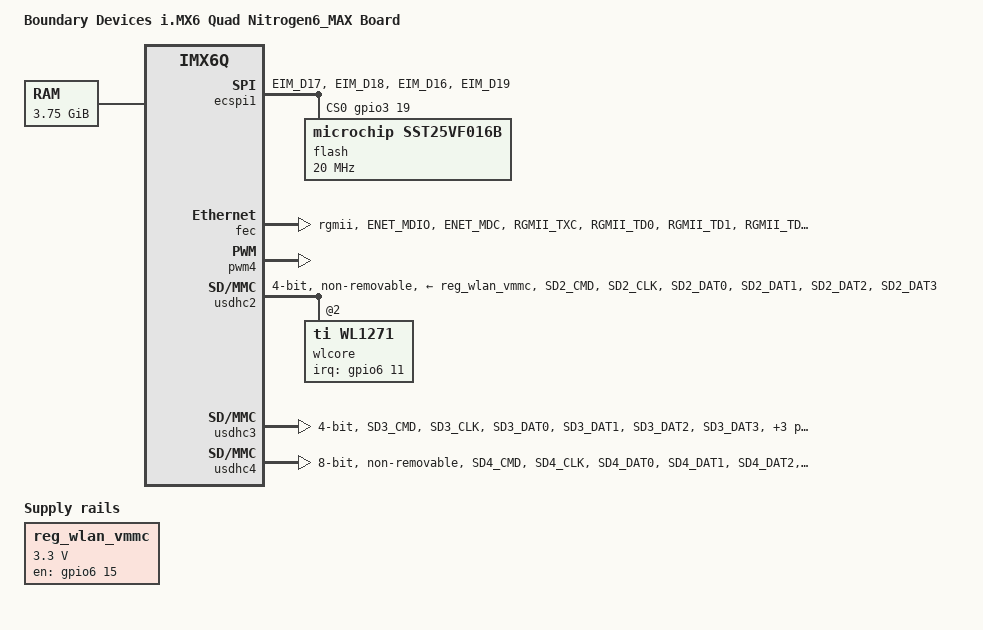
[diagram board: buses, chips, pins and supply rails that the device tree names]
/*
 * Copyright (C) 2016 Open Wide
 *               2016 Institut de Recherche Technologique SystemX
 *
 * This program is free software; you can redistribute it and/or modify
 * it under the terms of the GNU General Public License as published by
 * the Free Software Foundation; either version 2, or (at your option)
 * any later version.
 *
 * This program is distributed in the hope that it will be useful,
 * but WITHOUT ANY WARRANTY; without even the implied warranty of
 * MERCHANTABILITY or FITNESS FOR A PARTICULAR PURPOSE.  See the
 * GNU General Public License for more details.
 *
 * You should have received a copy of the GNU General Public License
 * along with this program; if not, write to the Free Software
 * Foundation, Inc., 675 Mass Ave, Cambridge, MA 02139, USA.
 *
 * @file nitrogen6_max.dtsi
 * @author Jean Guyomarc'h (jean.guyomarch@openwide.fr)
 * @brief Nitrogen 6 MAX specific device tree definitions.
 */

#include "../imx6q.dtsi"

/ {
        #address-cells = <0x1>;
        #size-cells = <0x1>;
        model = "Boundary Devices i.MX6 Quad Nitrogen6_MAX Board";
        compatible = "boundary,imx6q-nitrogen6_max", "fsl,imx6q";

        memory {
                reg = <0x10000000 0xF0000000>;
        };

        regulators {
		reg_wlan_vmmc: regulator@5 {
			compatible = "regulator-fixed";
			reg = <5>;
			pinctrl-names = "default";
			pinctrl-0 = <&pinctrl_wlan_vmmc>;
			regulator-name = "reg_wlan_vmmc";
			regulator-min-microvolt = <3300000>;
			regulator-max-microvolt = <3300000>;
			gpio = <&gpio6 15 0>;
			startup-delay-us = <70000>;
			enable-active-high;
		};
        };
};

&clks {
	assigned-clocks = <&clks IMX6QDL_CLK_LDB_DI0_SEL>,
			  <&clks IMX6QDL_CLK_LDB_DI1_SEL>;
	assigned-clock-parents = <&clks IMX6QDL_CLK_PLL3_USB_OTG>,
				 <&clks IMX6QDL_CLK_PLL3_USB_OTG>;
};

&ecspi1 {
	fsl,spi-num-chipselects = <1>;
	cs-gpios = <&gpio3 19 0>;
	pinctrl-names = "default";
	pinctrl-0 = <&pinctrl_ecspi1>;
	status = "okay";

	flash: m25p80@0 {
		compatible = "microchip,sst25vf016b";
		spi-max-frequency = <20000000>;
		reg = <0>;
	};
};

&fec {
	pinctrl-names = "default";
	pinctrl-0 = <&pinctrl_enet>;
	phy-mode = "rgmii";
	phy-reset-gpios = <&gpio1 27 1>;
	txen-skew-ps = <0>;
	txc-skew-ps = <3000>;
	rxdv-skew-ps = <0>;
	rxc-skew-ps = <3000>;
	rxd0-skew-ps = <0>;
	rxd1-skew-ps = <0>;
	rxd2-skew-ps = <0>;
	rxd3-skew-ps = <0>;
	txd0-skew-ps = <0>;
	txd1-skew-ps = <0>;
	txd2-skew-ps = <0>;
	txd3-skew-ps = <0>;
	interrupts-extended = <&gpio1 6 IRQ_TYPE_LEVEL_HIGH>,
			      <&intc 0 119 IRQ_TYPE_LEVEL_HIGH>;
	status = "okay";
};

&iomuxc {
	imx6q-nitrogen6_max {

		pinctrl_ecspi1: ecspi1grp {
			fsl,pins = <
				MX6QDL_PAD_EIM_D17__ECSPI1_MISO		0x100b1
				MX6QDL_PAD_EIM_D18__ECSPI1_MOSI		0x100b1
				MX6QDL_PAD_EIM_D16__ECSPI1_SCLK		0x100b1
				MX6QDL_PAD_EIM_D19__GPIO3_IO19		0x000b1
			>;
		};

		pinctrl_enet: enetgrp {
			fsl,pins = <
				MX6QDL_PAD_ENET_MDIO__ENET_MDIO		0x100b0
				MX6QDL_PAD_ENET_MDC__ENET_MDC		0x100b0
				MX6QDL_PAD_RGMII_TXC__RGMII_TXC		0x100b0
				MX6QDL_PAD_RGMII_TD0__RGMII_TD0		0x100b0
				MX6QDL_PAD_RGMII_TD1__RGMII_TD1		0x100b0
				MX6QDL_PAD_RGMII_TD2__RGMII_TD2		0x100b0
				MX6QDL_PAD_RGMII_TD3__RGMII_TD3		0x100b0
				MX6QDL_PAD_RGMII_TX_CTL__RGMII_TX_CTL	0x100b0
				MX6QDL_PAD_ENET_REF_CLK__ENET_TX_CLK	0x100b0
				MX6QDL_PAD_RGMII_RXC__RGMII_RXC		0x1b0b0
				MX6QDL_PAD_RGMII_RD0__RGMII_RD0		0x1b0b0
				MX6QDL_PAD_RGMII_RD1__RGMII_RD1		0x1b0b0
				MX6QDL_PAD_RGMII_RD2__RGMII_RD2		0x1b0b0
				MX6QDL_PAD_RGMII_RD3__RGMII_RD3		0x1b0b0
				MX6QDL_PAD_RGMII_RX_CTL__RGMII_RX_CTL	0x1b0b0
				/* Phy reset */
				MX6QDL_PAD_ENET_RXD0__GPIO1_IO27	0x0f0b0
				MX6QDL_PAD_ENET_TX_EN__GPIO1_IO28	0x1b0b0
				MX6QDL_PAD_GPIO_6__ENET_IRQ		0x000b1
			>;
		};

		pinctrl_gpio_keys: gpio_keysgrp {
			fsl,pins = <
				/* Power Button */
				MX6QDL_PAD_NANDF_D3__GPIO2_IO03		0x1b0b0
				/* Menu Button */
				MX6QDL_PAD_NANDF_D1__GPIO2_IO01		0x1b0b0
				/* Home Button */
				MX6QDL_PAD_NANDF_D4__GPIO2_IO04		0x1b0b0
				/* Back Button */
				MX6QDL_PAD_NANDF_D2__GPIO2_IO02		0x1b0b0
				/* Volume Up Button */
				MX6QDL_PAD_GPIO_18__GPIO7_IO13		0x1b0b0
				/* Volume Down Button */
				MX6QDL_PAD_SD3_DAT4__GPIO7_IO01		0x1b0b0
			>;
		};

		pinctrl_i2c1: i2c1grp {
			fsl,pins = <
				MX6QDL_PAD_EIM_D21__I2C1_SCL	0x4001b8b1
				MX6QDL_PAD_EIM_D28__I2C1_SDA	0x4001b8b1
			>;
		};

		pinctrl_i2c2: i2c2grp {
			fsl,pins = <
				MX6QDL_PAD_KEY_COL3__I2C2_SCL	0x4001b8b1
				MX6QDL_PAD_KEY_ROW3__I2C2_SDA	0x4001b8b1
			>;
		};

		pinctrl_i2c2mux: i2c2muxgrp {
			fsl,pins = <
				/* ov5642 camera i2c enable */
				MX6QDL_PAD_EIM_D20__GPIO3_IO20	0x000b0
				/* ov5640_mipi camera i2c enable */
				MX6QDL_PAD_KEY_ROW4__GPIO4_IO15	0x000b0
			>;
		};

		pinctrl_i2c3: i2c3grp {
			fsl,pins = <
				MX6QDL_PAD_GPIO_5__I2C3_SCL	0x4001b8b1
				MX6QDL_PAD_GPIO_16__I2C3_SDA	0x4001b8b1
				MX6QDL_PAD_GPIO_9__GPIO1_IO09	0x1b0b0
			>;
		};

		pinctrl_i2c3mux: i2c3muxgrp {
			fsl,pins = <
				/* PCIe I2C enable */
				MX6QDL_PAD_EIM_OE__GPIO2_IO25	0x000b0
			>;
		};

		pinctrl_rv4162: rv4162grp {
			fsl,pins = <
				MX6QDL_PAD_KEY_COL0__GPIO4_IO06	0x1b0b0
			>;
		};

		pinctrl_sgtl5000: sgtl5000grp {
			fsl,pins = <
				MX6QDL_PAD_GPIO_0__CCM_CLKO1		0x000b0
				MX6QDL_PAD_EIM_A25__GPIO5_IO02		0x1b0b0
				MX6QDL_PAD_ENET_TXD1__GPIO1_IO29	0x1b0b0
			>;
		};

		pinctrl_uart5: uart5grp {
			fsl,pins = <
				MX6QDL_PAD_KEY_ROW1__UART5_RX_DATA	0x130b1
				MX6QDL_PAD_KEY_COL1__UART5_TX_DATA	0x030b1
				/* RS485 RX Enable: pull up */
				MX6QDL_PAD_NANDF_RB0__GPIO6_IO10	0x1b0b1
				/* RS485 DEN: pull down */
				MX6QDL_PAD_NANDF_CLE__GPIO6_IO07	0x030b1
				/* RS485/!RS232 Select: pull down (rs232) */
				MX6QDL_PAD_EIM_CS1__GPIO2_IO24		0x030b1
				/* ON: pull down */
				MX6QDL_PAD_NANDF_ALE__GPIO6_IO08	0x030b1
			>;
		};

		pinctrl_usdhc2: usdhc2grp {
			fsl,pins = <
				MX6QDL_PAD_SD2_CMD__SD2_CMD		0x17059
				MX6QDL_PAD_SD2_CLK__SD2_CLK		0x10059
				MX6QDL_PAD_SD2_DAT0__SD2_DATA0		0x17059
				MX6QDL_PAD_SD2_DAT1__SD2_DATA1		0x17059
				MX6QDL_PAD_SD2_DAT2__SD2_DATA2		0x17059
				MX6QDL_PAD_SD2_DAT3__SD2_DATA3		0x17059
			>;
		};

		pinctrl_usdhc3: usdhc3grp {
			fsl,pins = <
				MX6QDL_PAD_SD3_CMD__SD3_CMD		0x17059
				MX6QDL_PAD_SD3_CLK__SD3_CLK		0x10059
				MX6QDL_PAD_SD3_DAT0__SD3_DATA0		0x17059
				MX6QDL_PAD_SD3_DAT1__SD3_DATA1		0x17059
				MX6QDL_PAD_SD3_DAT2__SD3_DATA2		0x17059
				MX6QDL_PAD_SD3_DAT3__SD3_DATA3		0x17059
				MX6QDL_PAD_NANDF_CS1__SD3_VSELECT	0x100b0
				MX6QDL_PAD_SD3_DAT5__GPIO7_IO00		0x1b0b0
			>;
		};

		pinctrl_usdhc4: usdhc4grp {
			fsl,pins = <
				MX6QDL_PAD_SD4_CMD__SD4_CMD		0x17059
				MX6QDL_PAD_SD4_CLK__SD4_CLK		0x10059
				MX6QDL_PAD_SD4_DAT0__SD4_DATA0		0x17059
				MX6QDL_PAD_SD4_DAT1__SD4_DATA1		0x17059
				MX6QDL_PAD_SD4_DAT2__SD4_DATA2		0x17059
				MX6QDL_PAD_SD4_DAT3__SD4_DATA3		0x17059
				MX6QDL_PAD_SD4_DAT4__SD4_DATA4		0x17059
				MX6QDL_PAD_SD4_DAT5__SD4_DATA5		0x17059
				MX6QDL_PAD_SD4_DAT6__SD4_DATA6		0x17059
				MX6QDL_PAD_SD4_DAT7__SD4_DATA7		0x17059
			>;
		};

		pinctrl_wlan_vmmc: wlan_vmmcgrp {
			fsl,pins = <
				MX6QDL_PAD_NANDF_CS0__GPIO6_IO11	0x100b0
				MX6QDL_PAD_NANDF_CS2__GPIO6_IO15	0x000b0
				MX6QDL_PAD_NANDF_CS3__GPIO6_IO16	0x000b0
				MX6QDL_PAD_SD1_CLK__OSC32K_32K_OUT	0x000b0
			>;
		};
	};
};

&pwm4 {
	pinctrl-names = "default";
	pinctrl-0 = <&pinctrl_pwm4>;
	status = "okay";
};

&usdhc2 {
	pinctrl-names = "default";
	pinctrl-0 = <&pinctrl_usdhc2>;
	bus-width = <4>;
	non-removable;
	vmmc-supply = <&reg_wlan_vmmc>;
	cap-power-off-card;
	keep-power-in-suspend;
	status = "okay";

	#address-cells = <1>;
	#size-cells = <0>;
	wlcore: wlcore@2 {
		compatible = "ti,wl1271";
		reg = <2>;
		interrupt-parent = <&gpio6>;
		interrupts = <11 IRQ_TYPE_LEVEL_HIGH>;
		ref-clock-frequency = <38400000>;
	};
};

&usdhc3 {
	pinctrl-names = "default";
	pinctrl-0 = <&pinctrl_usdhc3>;
	cd-gpios = <&gpio7 0 1>;
	bus-width = <4>;
	status = "okay";
};

&usdhc4 {
	pinctrl-names = "default";
	pinctrl-0 = <&pinctrl_usdhc4>;
	bus-width = <8>;
	non-removable;
	keep-power-in-suspend;
	status = "okay";
};
